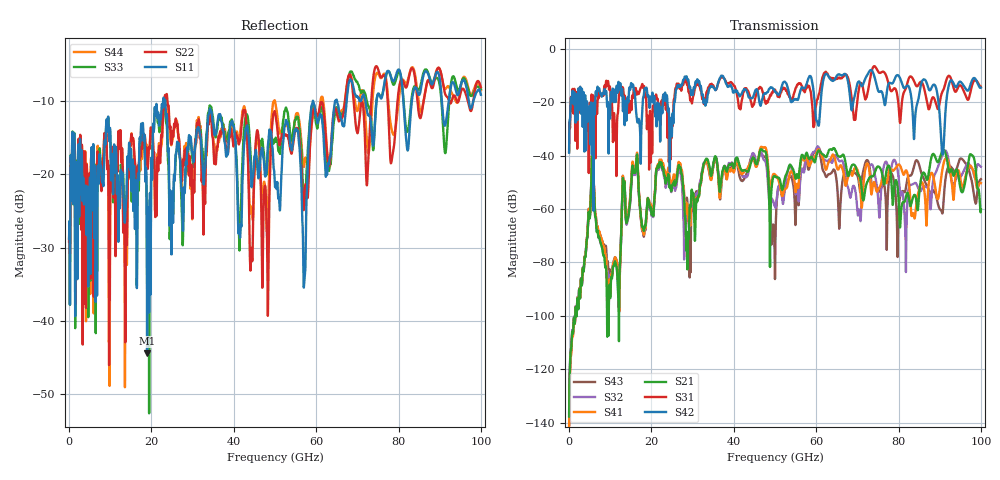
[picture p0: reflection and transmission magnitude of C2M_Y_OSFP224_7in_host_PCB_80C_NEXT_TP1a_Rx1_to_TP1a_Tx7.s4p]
# GHz S RI R 45
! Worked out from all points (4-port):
!   4000 points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, 25 MHz to 100 GHz, reference 45 ohm
!   strongest paths, dB at 25 MHz, 25.02 GHz, 50.02 GHz, 75.03 GHz, 100 GHz:
!     S42: -38.9, -28.8, -16.1, -15.6, -14.6
!     S31: -38.5, -27.1, -15.3, -8.5, -14.2
!     S21: -137.7, -51.2, -47.8, -44.1, -60.2
!     S41: -142.5, -49.6, -47.2, -52.7, -50.3
!     S32: -136.6, -52.0, -59.0, -55.6, -44.1
!     S43: -140.9, -50.6, -85.9, -52.5, -48.9
!   lowest |S11| = -44.4 dB at 18.95 GHz (marker M1), VSWR 1.01, Z = 44.5 - j0.285 ohm
!   |S11| at or under -10 dB: start of sweep to 22.84 GHz; 23.39 GHz to 59.17 GHz (35.77 GHz wide, 86.7 % of centre); 59.29 GHz to 64.58 GHz (5.287 GHz wide, 8.54 % of centre)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
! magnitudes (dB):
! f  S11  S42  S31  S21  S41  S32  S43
! 25 MHz  -28.7  -38.9  -38.5  -137.7  -142.5  -136.6  -140.9
! 5.7 GHz  -24.7  -21.0  -26.0  -39.7  -39.5  -39.5  -39.3
! 9.15 GHz  -12.7  -18.2  -12.7  -88.0  -83.7  -83.4  -78.6
! 16.15 GHz  -21.3  -20.4  -14.7  -45.5  -44.5  -46.5  -45.4
! 18.95 GHz  -44.4  -16.1  -29.4  -58.8  -59.2  -59.6  -60.0
! 64.05 GHz  -12.9  -12.1  -11.0  -37.4  -39.6  -42.0  -45.7
! 100 GHz  -9.1  -14.6  -14.2  -60.2  -50.3  -44.1  -48.9
